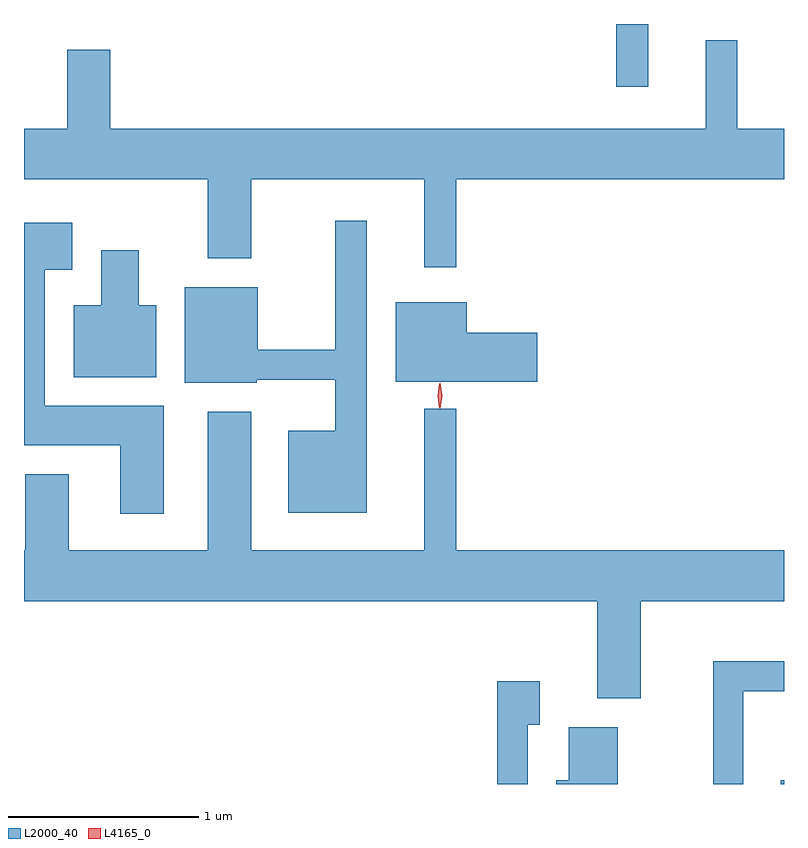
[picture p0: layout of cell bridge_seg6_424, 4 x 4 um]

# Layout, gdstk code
import gdstk
lib = gdstk.Library(unit=1e-6, precision=1e-09)
def R(c, l, rs):  # rectangles x0, y0, x1, y1
    for r in rs: c.add(gdstk.rectangle(r[:2], r[2:], *l))
def P(c, l, *ps):  # polygons
    for p in ps: c.add(gdstk.Polygon(p, *l))
L2000_40 = (2000, 40)
L4165_0 = (4165, 0)

bridge_seg6_424 = lib.new_cell('bridge_seg6_424')
R(bridge_seg6_424, L2000_40, [(829.126,1651.194,829.144,1651.214), (828.261,1654.863,828.429,1655.194)])
P(bridge_seg6_424, L2000_40, [(827.419,1654.376),(829.144,1654.376),(829.144,1654.644),(828.899,1654.644),(828.899,1655.108),(828.731,1655.108),(828.731,1654.644),(825.599,1654.644),(825.599,1655.059),(825.371,1655.059),(825.371,1654.644),(825.144,1654.644),(825.144,1654.376),(826.111,1654.376),(826.111,1653.961),(826.339,1653.961),(826.339,1654.376),(827.251,1654.376),(827.251,1653.913),(827.419,1653.913)],
  [(826.949,1654.158),(826.781,1654.158),(826.781,1653.479),(826.374,1653.479),(826.374,1653.809),(825.991,1653.809),(825.991,1653.306),(826.37,1653.306),(826.37,1653.321),(826.781,1653.321),(826.781,1653.054),(826.536,1653.054),(826.536,1652.621),(826.949,1652.621)],
  [(825.879,1653.184),(825.254,1653.184),(825.254,1653.901),(825.399,1653.901),(825.399,1654.149),(825.144,1654.149),(825.144,1652.976),(825.651,1652.976),(825.651,1652.616),(825.879,1652.616)],
  [(825.839,1653.714),(825.749,1653.714),(825.749,1654.004),(825.551,1654.004),(825.551,1653.714),(825.406,1653.714),(825.406,1653.336),(825.839,1653.336)],
  [(827.844,1653.569),(827.474,1653.569),(827.474,1653.729),(827.101,1653.729),(827.101,1653.311),(827.844,1653.311)],
  [(828.161,1651.646),(828.389,1651.646),(828.389,1652.156),(829.144,1652.156),(829.144,1652.424),(827.419,1652.424),(827.419,1653.168),(827.251,1653.168),(827.251,1652.424),(826.339,1652.424),(826.339,1653.154),(826.111,1653.154),(826.111,1652.424),(825.379,1652.424),(825.379,1652.824),(825.151,1652.824),(825.151,1652.424),(825.144,1652.424),(825.144,1652.156),(828.161,1652.156)],
  [(828.929,1651.681),(829.144,1651.681),(829.144,1651.839),(828.771,1651.839),(828.771,1651.194),(828.929,1651.194)],
  [(827.794,1651.506),(827.859,1651.506),(827.859,1651.734),(827.636,1651.734),(827.636,1651.194),(827.794,1651.194)],
  [(828.269,1651.494),(828.011,1651.494),(828.011,1651.214),(827.946,1651.214),(827.946,1651.194),(828.269,1651.194)])
P(bridge_seg6_424, L4165_0, [(827.334,1653.17),(827.325,1653.238),(827.334,1653.305),(827.334,1653.306),(827.335,1653.305),(827.344,1653.238),(827.335,1653.17),(827.335,1653.17)],
  [(827.331,1653.173),(827.33,1653.174),(827.321,1653.236),(827.33,1653.3),(827.33,1653.3),(827.331,1653.3),(827.341,1653.236),(827.331,1653.174)])

lib.write_gds('bridge_seg6_424.gds')
